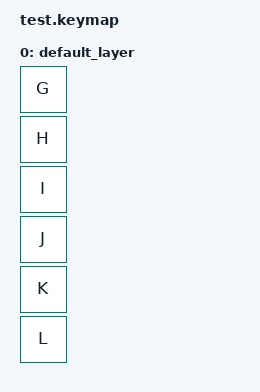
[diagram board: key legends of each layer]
/*
 * Copyright (c) 2020 The ZMK Contributors
 *
 * SPDX-License-Identifier: MIT
 */

#include <behaviors.dtsi>
#include <dt-bindings/zmk/keys.h>
#include <dt-bindings/zmk/outputs.h>

/ {
    keymap {
        compatible = "zmk,keymap";

        default_layer {
            bindings = <
                &kp G
                &kp H
                &kp I
                &kp J
                &kp K
                &kp L
            >;
        };
    };
};
